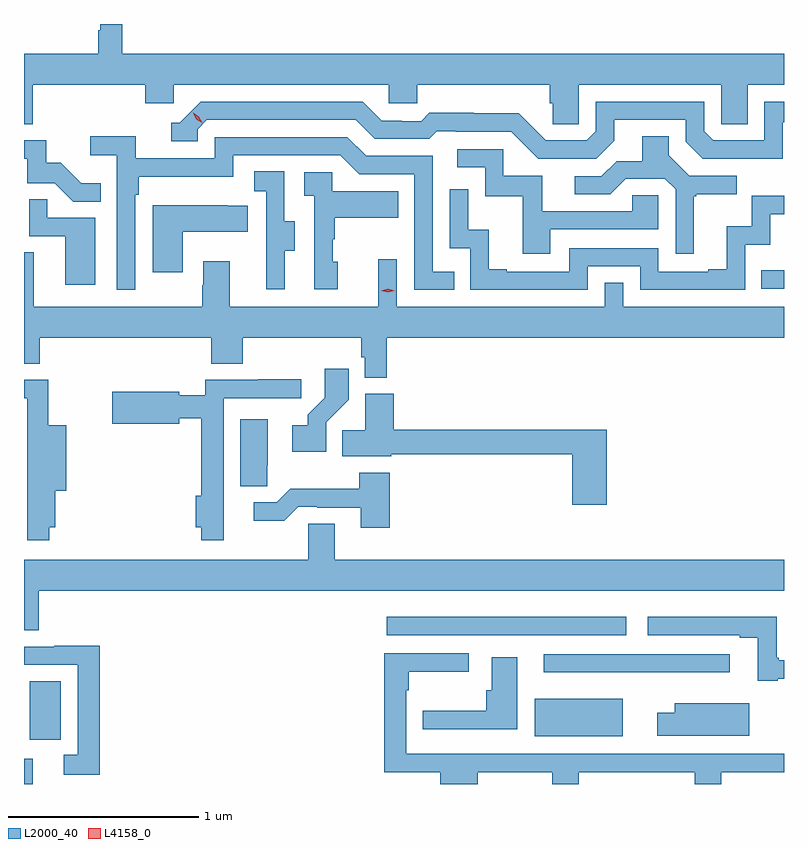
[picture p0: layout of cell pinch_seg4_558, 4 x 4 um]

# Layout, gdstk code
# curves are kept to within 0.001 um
import gdstk
lib = gdstk.Library(unit=1e-6, precision=1e-09)
def R(c, l, rs):  # rectangles x0, y0, x1, y1
    for r in rs: c.add(gdstk.rectangle(r[:2], r[2:], *l))
def P(c, l, *ps):  # polygons
    for p in ps: c.add(gdstk.Polygon(p, *l))
L2000_40 = (2000, 40)
L4158_0 = (4158, 0)

pinch_seg4_558 = lib.new_cell('pinch_seg4_558')
R(pinch_seg4_558, L2000_40, [(1102.839,785.148,1102.885,785.282), (1102.868,785.382,1103.032,785.689), (1105.526,785.399,1105.99,785.596), (1105.575,785.735,1106.554,785.832), (1104.747,785.931,1106.008,786.028), (1106.719,787.755,1106.839,787.852)])
P(pinch_seg4_558, L2000_40, [(1102.886,788.828),(1103.477,788.828),(1103.477,788.73),(1103.628,788.73),(1103.628,788.828),(1104.759,788.828),(1104.759,788.73),(1104.909,788.73),(1104.909,788.828),(1105.607,788.828),(1105.607,788.73),(1105.621,788.73),(1105.621,788.62),(1105.758,788.62),(1105.758,788.828),(1106.508,788.828),(1106.508,788.62),(1106.647,788.62),(1106.647,788.828),(1106.839,788.828),(1106.839,788.992),(1103.357,788.992),(1103.357,789.148),(1103.24,789.148),(1103.24,789.116),(1103.229,789.116),(1103.229,788.992),(1102.839,788.992),(1102.839,788.62),(1102.886,788.62)],
  [(1106.833,788.631),(1106.839,788.631),(1106.839,788.739),(1106.736,788.739),(1106.736,788.535),(1106.466,788.535),(1106.418,788.583),(1106.418,788.739),(1105.848,788.739),(1105.848,788.583),(1105.8,788.535),(1105.584,788.535),(1105.442,788.677),(1105.206,788.677),(1105.206,788.68),(1104.973,788.68),(1104.931,788.637),(1104.828,788.637),(1104.828,788.64),(1104.721,788.64),(1104.622,788.739),(1103.769,788.739),(1103.658,788.628),(1103.615,788.628),(1103.615,788.532),(1103.754,788.532),(1103.754,788.595),(1103.802,788.643),(1104.585,788.643),(1104.684,788.544),(1104.973,788.544),(1105.012,788.583),(1105.111,788.583),(1105.111,788.58),(1105.404,788.58),(1105.545,788.439),(1105.851,788.439),(1105.945,788.533),(1105.945,788.643),(1106.322,788.643),(1106.322,788.529),(1106.412,788.439),(1106.833,788.438)],
  [(1106.365,788.241),(1106.377,788.241),(1106.377,788.252),(1106.59,788.252),(1106.59,788.349),(1106.34,788.349),(1106.233,788.456),(1106.233,788.558),(1106.093,788.558),(1106.093,788.426),(1105.958,788.426),(1105.878,788.346),(1105.737,788.346),(1105.737,788.253),(1105.924,788.253),(1106.005,788.334),(1106.211,788.334),(1106.268,788.277),(1106.268,787.938),(1106.365,787.938)],
  [(1103.424,788.249),(1103.444,788.249),(1103.444,788.345),(1103.94,788.345),(1103.94,788.457),(1104.504,788.457),(1104.603,788.358),(1104.894,788.358),(1104.894,787.749),(1105.103,787.749),(1105.103,787.845),(1104.99,787.845),(1104.99,788.454),(1104.64,788.454),(1104.541,788.553),(1103.844,788.553),(1103.844,788.442),(1103.426,788.442),(1103.426,788.558),(1103.187,788.558),(1103.187,788.456),(1103.328,788.456),(1103.328,787.749),(1103.424,787.749)],
  [(1103.243,788.311),(1103.139,788.311),(1103.032,788.418),(1102.956,788.418),(1102.956,788.535),(1102.839,788.535),(1102.839,788.439),(1102.857,788.439),(1102.857,788.31),(1103.001,788.31),(1103.099,788.212),(1103.243,788.212)],
  [(1105.609,788.067),(1106.178,788.067),(1106.178,788.247),(1106.041,788.247),(1106.041,788.163),(1105.567,788.163),(1105.567,788.349),(1105.362,788.349),(1105.362,788.49),(1105.119,788.49),(1105.119,788.394),(1105.266,788.394),(1105.266,788.241),(1105.465,788.241),(1105.465,787.938),(1105.609,787.938)],
  [(1104.211,787.954),(1104.265,787.954),(1104.265,788.109),(1104.21,788.109),(1104.21,788.372),(1104.051,788.372),(1104.051,788.269),(1104.114,788.269),(1104.114,787.965),(1104.113,787.965),(1104.113,787.752),(1104.211,787.752)],
  [(1104.49,787.896),(1104.465,787.896),(1104.465,788.015),(1104.475,788.015),(1104.475,788.129),(1104.809,788.129),(1104.809,788.269),(1104.462,788.269),(1104.462,788.367),(1104.315,788.367),(1104.315,788.243),(1104.366,788.243),(1104.366,787.752),(1104.49,787.752)],
  [(1105.806,787.872),(1106.082,787.872),(1106.082,787.749),(1106.634,787.749),(1106.634,787.985),(1106.766,787.985),(1106.766,788.148),(1106.839,788.148),(1106.839,788.244),(1106.67,788.244),(1106.67,788.083),(1106.537,788.083),(1106.537,787.858),(1106.441,787.858),(1106.441,787.845),(1106.178,787.845),(1106.178,787.968),(1105.71,787.968),(1105.71,787.845),(1105.381,787.845),(1105.381,787.858),(1105.286,787.858),(1105.286,788.066),(1105.176,788.066),(1105.176,788.278),(1105.08,788.278),(1105.08,787.968),(1105.188,787.968),(1105.188,787.749),(1105.806,787.749)],
  [(1103.215,788.127),(1102.961,788.127),(1102.961,788.225),(1102.866,788.225),(1102.866,788.031),(1103.057,788.031),(1103.057,787.776),(1103.215,787.776)],
  [(1103.674,788.054),(1104.017,788.054),(1104.017,788.191),(1103.909,788.191),(1103.909,788.194),(1103.516,788.194),(1103.516,787.842),(1103.674,787.842)],
  [(1104.749,787.496),(1106.839,787.496),(1106.839,787.66),(1105.992,787.66),(1105.992,787.787),(1105.896,787.787),(1105.896,787.66),(1104.801,787.66),(1104.801,787.909),(1104.704,787.909),(1104.704,787.66),(1103.923,787.66),(1103.923,787.9),(1103.783,787.9),(1103.783,787.772),(1103.776,787.772),(1103.776,787.66),(1102.891,787.66),(1102.891,787.946),(1102.839,787.946),(1102.839,787.36),(1102.922,787.36),(1102.922,787.496),(1103.825,787.496),(1103.825,787.36),(1103.99,787.36),(1103.99,787.496),(1104.613,787.496),(1104.613,787.395),(1104.633,787.395),(1104.633,787.286),(1104.749,787.286)],
  [(1104.429,787.051),(1104.548,787.17),(1104.548,787.333),(1104.423,787.333),(1104.423,787.181),(1104.332,787.091),(1104.332,787.036),(1104.252,787.036),(1104.252,786.896),(1104.429,786.896)],
  [(1103.89,786.654),(1103.889,786.654),(1103.889,787.179),(1104.298,787.179),(1104.298,787.278),(1104.073,787.278),(1104.073,787.275),(1103.792,787.275),(1103.792,787.195),(1103.656,787.195),(1103.656,787.213),(1103.304,787.213),(1103.304,787.043),(1103.656,787.043),(1103.656,787.074),(1103.773,787.074),(1103.773,786.666),(1103.744,786.666),(1103.744,786.5),(1103.773,786.5),(1103.773,786.432),(1103.89,786.432)],
  [(1102.973,786.5),(1103.003,786.5),(1103.003,786.692),(1103.062,786.692),(1103.062,787.036),(1102.966,787.036),(1102.966,787.275),(1102.839,787.275),(1102.839,787.179),(1102.856,787.179),(1102.856,786.726),(1102.857,786.726),(1102.857,786.432),(1102.973,786.432)],
  [(1105.907,787.012),(1104.785,787.012),(1104.785,787.201),(1104.635,787.201),(1104.635,787.01),(1104.514,787.01),(1104.514,786.872),(1104.772,786.872),(1104.772,786.883),(1105.724,786.883),(1105.724,786.618),(1105.907,786.618)],
  [(1104.12,786.826),(1104.121,786.826),(1104.121,787.069),(1103.978,787.069),(1103.978,786.715),(1104.12,786.715)],
  [(1104.764,786.787),(1104.604,786.787),(1104.604,786.703),(1104.241,786.703),(1104.168,786.63),(1104.048,786.63),(1104.048,786.533),(1104.209,786.533),(1104.282,786.606),(1104.382,786.606),(1104.382,786.603),(1104.611,786.603),(1104.611,786.498),(1104.764,786.498)],
  [(1102.916,786.164),(1106.839,786.164),(1106.839,786.328),(1104.475,786.328),(1104.475,786.518),(1104.336,786.518),(1104.336,786.328),(1102.839,786.328),(1102.839,785.956),(1102.916,785.956)],
  [(1106.806,785.702),(1106.839,785.702),(1106.839,785.8),(1106.812,785.8),(1106.812,785.812),(1106.8,785.812),(1106.8,786.028),(1106.121,786.028),(1106.121,785.931),(1106.606,785.931),(1106.606,785.919),(1106.702,785.919),(1106.702,785.691),(1106.806,785.691)],
  [(1103.237,785.876),(1102.999,785.876),(1102.999,785.871),(1102.839,785.871),(1102.839,785.775),(1103.121,785.775),(1103.121,785.301),(1103.049,785.301),(1103.049,785.196),(1103.237,785.196)],
  [(1105.228,785.211),(1105.619,785.211),(1105.619,785.148),(1105.759,785.148),(1105.759,785.211),(1106.369,785.211),(1106.369,785.148),(1106.509,785.148),(1106.509,785.211),(1106.839,785.211),(1106.839,785.307),(1104.852,785.307),(1104.852,785.642),(1104.865,785.642),(1104.865,785.738),(1105.18,785.738),(1105.18,785.835),(1104.736,785.835),(1104.736,785.211),(1105.031,785.211),(1105.031,785.148),(1105.228,785.148)],
  [(1105.435,785.815),(1105.301,785.815),(1105.301,785.641),(1105.271,785.641),(1105.271,785.534),(1104.937,785.534),(1104.937,785.437),(1105.045,785.437),(1105.045,785.436),(1105.435,785.436)],
  [(1106.656,785.572),(1106.264,785.572),(1106.264,785.524),(1106.172,785.524),(1106.172,785.402),(1106.656,785.402)])
P(pinch_seg4_558, L4158_0, [(1104.754,787.735),(1104.719,787.745),(1104.718,787.745),(1104.719,787.745),(1104.754,787.755),(1104.789,787.745),(1104.789,787.745),(1104.789,787.745)],
  [(1103.776,788.628),(1103.745,788.647),(1103.729,788.679),(1103.729,788.68),(1103.729,788.68),(1103.76,788.66),(1103.776,788.628),(1103.776,788.628)])

lib.write_gds('pinch_seg4_558.gds')
